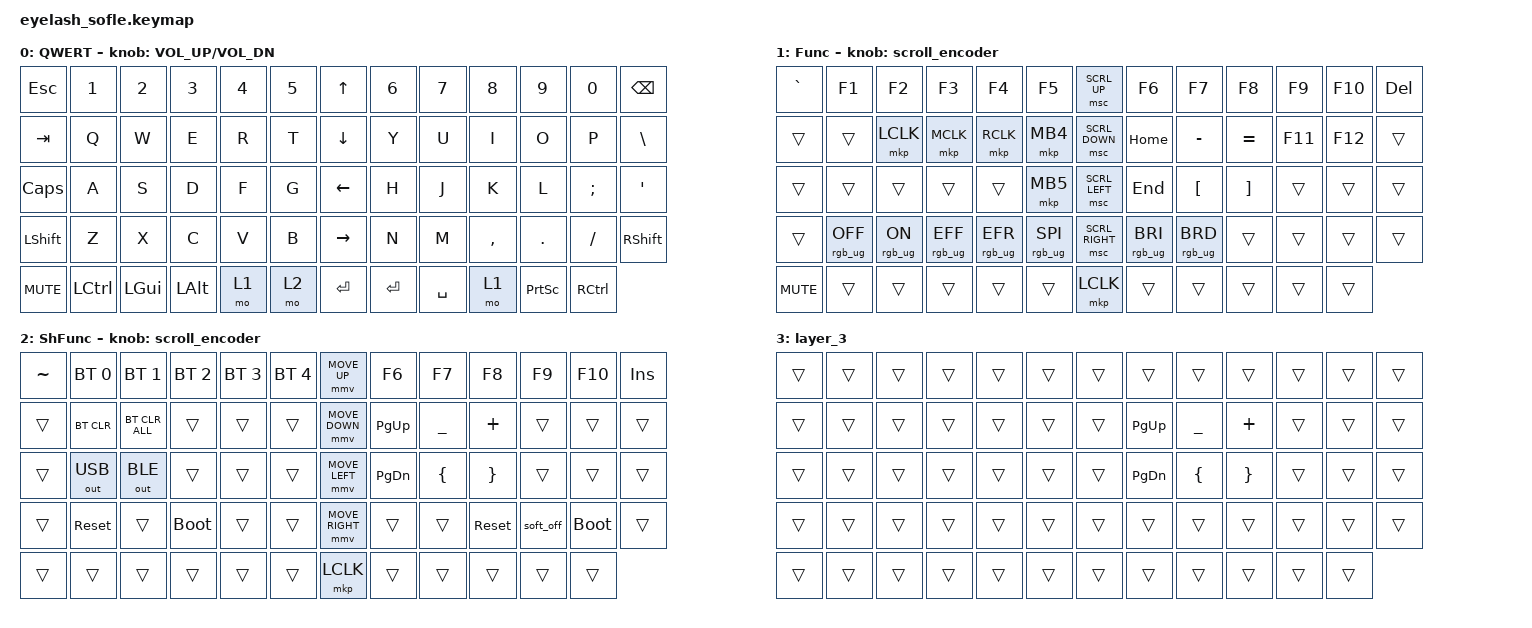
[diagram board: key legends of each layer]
#define ZMK_POINTING_DEFAULT_MOVE_VAL 1200  // 600
#define ZMK_POINTING_DEFAULT_SCRL_VAL 25   // 10

#include <input/processors.dtsi>
#include <zephyr/dt-bindings/input/input-event-codes.h>
#include <behaviors.dtsi>
#include <dt-bindings/zmk/bt.h>
#include <dt-bindings/zmk/keys.h>
#include <dt-bindings/zmk/outputs.h>
#include <dt-bindings/zmk/pointing.h>
#include <dt-bindings/zmk/rgb.h>

&mmv_input_listener { input-processors = <&zip_xy_scaler 2 1>; };

&msc_input_listener { input-processors = <&zip_scroll_scaler 2 1>; };

&msc {
    acceleration-exponent = <1>;      // 0
    time-to-max-speed-ms = <100>;       // 300
    delay-ms = <0>;                   // 0
};

&mmv {
    time-to-max-speed-ms = <500>;
    acceleration-exponent = <1>;
    trigger-period-ms = <16>;
};

/ {
    scroll_encoder: scroll_encoder {
        compatible = "zmk,behavior-sensor-rotate";
        #sensor-binding-cells = <0>;
        bindings = <&msc SCRL_DOWN>, <&msc SCRL_UP>;

        tap-ms = <100>;
    };

    behaviors {
    };

    keymap {
        compatible = "zmk,keymap";

        layer0 {
            bindings = <
&kp ESC     &kp N1     &kp N2        &kp N3        &kp N4  &kp N5    &kp UP_ARROW     &kp N6     &kp N7     &kp N8     &kp N9           &kp N0             &kp BACKSPACE
&kp TAB     &kp Q      &kp W         &kp E         &kp R   &kp T     &kp DOWN_ARROW   &kp Y      &kp U      &kp I      &kp O            &kp P              &kp BSLH
&kp CAPS    &kp A      &kp S         &kp D         &kp F   &kp G     &kp LEFT_ARROW   &kp H      &kp J      &kp K      &kp L            &kp SEMI           &kp APOS
&kp LSHFT   &kp Z      &kp X         &kp C         &kp V   &kp B     &kp RIGHT_ARROW  &kp N      &kp M      &kp COMMA  &kp DOT          &kp FSLH           &kp RSHIFT
&kp C_MUTE  &kp LCTRL  &kp LEFT_GUI  &kp LEFT_ALT  &mo 1   &mo 2     &kp ENTER        &kp ENTER  &kp SPACE  &mo 1      &kp PRINTSCREEN  &kp RIGHT_CONTROL
            >;

            sensor-bindings = <&inc_dec_kp C_VOLUME_UP C_VOL_DN>;
            display-name = "QWERT";
        };

        layer_1 {
            bindings = <
&kp GRAVE   &kp F1           &kp F2          &kp F3           &kp F4           &kp F5             &msc SCRL_UP     &kp F6           &kp F7            &kp F8             &kp F9   &kp F10  &kp DEL
&trans      &trans           &mkp LCLK       &mkp MCLK        &mkp RCLK        &mkp MB4           &msc SCRL_DOWN   &kp HOME         &kp MINUS         &kp EQUAL          &kp F11  &kp F12  &trans
&trans      &trans           &trans          &trans           &trans           &mkp MB5           &msc SCRL_LEFT   &kp END          &kp LEFT_BRACKET  &kp RIGHT_BRACKET  &trans   &trans   &trans
&trans      &rgb_ug RGB_OFF  &rgb_ug RGB_ON  &rgb_ug RGB_EFF  &rgb_ug RGB_EFR  &rgb_ug RGB_SPI    &msc SCRL_RIGHT  &rgb_ug RGB_BRI  &rgb_ug RGB_BRD   &trans             &trans   &trans   &trans
&kp C_MUTE  &trans           &trans          &trans           &trans           &trans             &mkp LCLK        &trans           &trans            &trans             &trans   &trans
            >;

            display-name = "Func";
            sensor-bindings = <&scroll_encoder>;
        };

        layer_2 {
            bindings = <
&kp TILDE  &bt BT_SEL 0  &bt BT_SEL 1    &bt BT_SEL 2  &bt BT_SEL 3  &bt BT_SEL 4    &mmv MOVE_UP     &kp F6     &kp F7          &kp F8      &kp F9     &kp F10      &kp INS
&trans     &bt BT_CLR    &bt BT_CLR_ALL  &trans        &trans        &trans          &mmv MOVE_DOWN   &kp PG_UP  &kp UNDERSCORE  &kp PLUS    &trans     &trans       &trans
&trans     &out OUT_USB  &out OUT_BLE    &trans        &trans        &trans          &mmv MOVE_LEFT   &kp PG_DN  &kp LBRC        &kp RBRC    &trans     &trans       &trans
&trans     &sys_reset    &trans          &bootloader   &trans        &trans          &mmv MOVE_RIGHT  &trans     &trans          &sys_reset  &soft_off  &bootloader  &trans
&trans     &trans        &trans          &trans        &trans        &trans          &mkp LCLK        &trans     &trans          &trans      &trans     &trans
            >;

            sensor-bindings = <&scroll_encoder>;
            label = "ShFunc";
        };

        layer_3 {
            bindings = <
&trans  &trans  &trans  &trans  &trans  &trans    &trans  &trans     &trans     &trans    &trans  &trans  &trans
&trans  &trans  &trans  &trans  &trans  &trans    &trans  &kp PG_UP  &kp UNDER  &kp PLUS  &trans  &trans  &trans
&trans  &trans  &trans  &trans  &trans  &trans    &trans  &kp PG_DN  &kp LBRC   &kp RBRC  &trans  &trans  &trans
&trans  &trans  &trans  &trans  &trans  &trans    &trans  &trans     &trans     &trans    &trans  &trans  &trans
&trans  &trans  &trans  &trans  &trans  &trans    &trans  &trans     &trans     &trans    &trans  &trans
            >;
        };
    };
};
